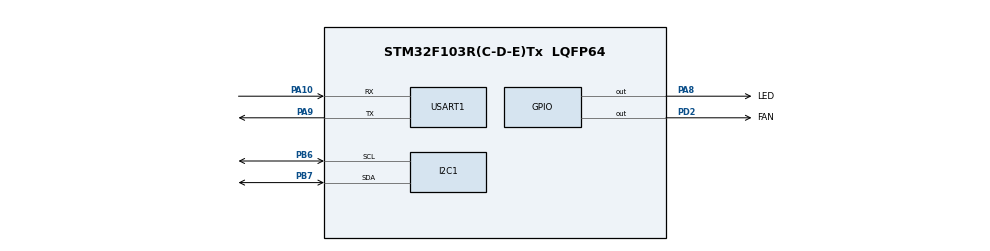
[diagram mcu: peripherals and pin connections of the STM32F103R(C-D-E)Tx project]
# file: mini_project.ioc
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Mcu.Family=STM32F1
Mcu.Name=STM32F103R(C-D-E)Tx
Mcu.Package=LQFP64
NVIC.PriorityGroup=NVIC_PRIORITYGROUP_4
NVIC.TIM1_BRK_IRQn=true\:0\:0\:false\:false\:true\:true\:true\:true
NVIC.TIM1_CC_IRQn=true\:0\:0\:false\:false\:true\:true\:true\:true
NVIC.TIM1_TRG_COM_IRQn=true\:0\:0\:false\:false\:true\:true\:true\:true
NVIC.TIM1_UP_IRQn=true\:0\:0\:false\:false\:true\:true\:true\:true
NVIC.USART1_IRQn=true\:0\:0\:false\:false\:true\:true\:true\:true
PA10.Mode=Asynchronous
PA10.Signal=USART1_RX
PA13.Mode=Serial_Wire
PA13.Signal=SYS_JTMS-SWDIO
PA14.Mode=Serial_Wire
PA14.Signal=SYS_JTCK-SWCLK
PA8.GPIO_Label=LED
PA8.Signal=GPIO_Output
PA9.Mode=Asynchronous
PA9.Signal=USART1_TX
PB6.Mode=I2C
PB6.Signal=I2C1_SCL
PB7.Mode=I2C
PB7.Signal=I2C1_SDA
PD2.GPIO_Label=FAN
PD2.Signal=GPIO_Output
ProjectManager.HeapSize=0x200
ProjectManager.StackSize=0x400
ProjectManager.TargetToolchain=STM32CubeIDE
RCC.APB1Freq_Value=8000000
RCC.APB2Freq_Value=8000000
TIM1.Period=9999
TIM1.Prescaler=7
USART1.VirtualMode=VM_ASYNC
VP_TIM1_VS_ClockSourceINT.Mode=Internal
board=custom

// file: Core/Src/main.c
/* USER CODE BEGIN Header */
/**
  ******************************************************************************
  * @file           : main.c
  * @brief          : Main program body
  ******************************************************************************
  * @attention
  *
  * Copyright (c) 2024 STMicroelectronics.
  * All rights reserved.
  *
  * This software is licensed under terms that can be found in the LICENSE file
  * in the root directory of this software component.
  * If no LICENSE file comes with this software, it is provided AS-IS.
  *
  ******************************************************************************
  */
/* USER CODE END Header */
#include "main.h"

/* USER CODE BEGIN Includes */
#include "string.h"
#include "DHT20.h"
#include "BH1750.h"
#include "scheduler.h"
#include "buffer.h"
/* USER CODE END Includes */

I2C_HandleTypeDef hi2c1;

TIM_HandleTypeDef htim1;

UART_HandleTypeDef huart1;

/* USER CODE BEGIN PV */
DHT20_I2C_DEVICE DHT20;
Buffer buffer_uart;
/* USER CODE END PV */

void SystemClock_Config(void);
static void MX_GPIO_Init(void);
static void MX_I2C1_Init(void);
static void MX_TIM1_Init(void);
static void MX_USART1_UART_Init(void);

/* USER CODE BEGIN 0 */

float temperature = 0;
float humidity = 0;
char command_buffer[255]={0};
uint8_t index_command_buffer  = 0;

char sending[255]={0};
uint8_t temp = 0;
uint8_t buffer_flag = 0;

#define NOT_IN_COMMAND 					0
#define STARTING_PARSE_COMMAND     	1
#define FINISHED_PARSE_COMMAND 		2

void parse_command(char* command, uint8_t size,uint8_t value){
	// continue to do
	char raise [255] = {0};
	HAL_UART_Transmit(&huart1, raise, sprintf(raise,"![PARSE]:OK# \n"), 1000);
	if (command == NULL) return;
	if (strcmp(command,"LED") == 0){
		HAL_GPIO_WritePin(LED_GPIO_Port, LED_Pin, value? RESET:SET);
	}
	if (strcmp(command,"FAN") == 0){
		HAL_GPIO_WritePin(FAN_GPIO_Port, FAN_Pin, value? RESET:SET);
	}
}

uint8_t state_command = NOT_IN_COMMAND;
void get_command(){
	char data = 0;
	if (read_buffer(&buffer_uart, &data, 1)){
//		HAL_UART_Transmit(&huart1, (uint8_t*)sending,sprintf(sending, "[RECIEVE]  data: %c \r\n",data),1000);
		buffer_flag = 0;
	}

	switch(state_command){
		case NOT_IN_COMMAND:
			if (data == '!'){
				command_buffer[index_command_buffer] = data;
				index_command_buffer++;
				state_command = STARTING_PARSE_COMMAND;
			}
			break;
		case STARTING_PARSE_COMMAND:
				command_buffer[index_command_buffer] = data;
				index_command_buffer++;
				if(data == '#'){
						state_command = FINISHED_PARSE_COMMAND;
				}
				break;
		case FINISHED_PARSE_COMMAND:
				char command[255] = {0};
				uint8_t value = 0;
				sscanf(command_buffer, "!%[^:]:%d#", command, &value);
				parse_command(command, strlen(command), value);
				index_command_buffer = 0;
				strcpy(command_buffer, "");
				state_command = NOT_IN_COMMAND;
				break;
	}
}

void HAL_UART_RxCpltCallback ( UART_HandleTypeDef * huart ) {
	if( huart -> Instance == USART1 ) {

		HAL_UART_Receive_IT (&huart1 , &temp , 1);
		write_buffer(&buffer_uart, &temp, 1);

	}
}
/* USER CODE END 0 */

int main(void)
{

  /* MCU Configuration--------------------------------------------------------*/

  /* Reset of all peripherals, Initializes the Flash interface and the Systick. */
  HAL_Init();

  /* Configure the system clock */
  SystemClock_Config();

  /* Initialize all configured peripherals */
  MX_GPIO_Init();
  MX_I2C1_Init();
  MX_TIM1_Init();
  MX_USART1_UART_Init();
  /* USER CODE BEGIN 2 */
//  uint8_t data = 0;
  HAL_TIM_Base_Start_IT(&htim1);

  HAL_UART_Receive_IT(&huart1, &temp, 1);
  DHT20_I2C_Init(&DHT20, &hi2c1, DHT20_ADDRESS);
  buffer_init(&buffer_uart);

#define TIMER_COMMAND 			0
#define TIMER_DHT20 				 	1
  /* USER CODE END 2 */

  /* Infinite loop */
  /* USER CODE BEGIN WHILE */
//  char starting_word[] = "HELLO NHANLOW \r\n";
//  HAL_UART_Transmit(&huart1, (uint8_t*) starting_word, sizeof(starting_word), 1000);
  HAL_GPIO_WritePin(LED_GPIO_Port, LED_Pin, SET);
  HAL_UART_Transmit(&huart1,sending , sprintf(sending,"!FAN:0#"), 1000);
  HAL_GPIO_WritePin(FAN_GPIO_Port, FAN_Pin, SET);
  HAL_UART_Transmit(&huart1,sending , sprintf(sending,"!LED:0#"), 1000);
  set_timer(TIMER_COMMAND,10);
  set_timer(TIMER_DHT20,10000);
  while (1)
  {
	 if(is_timer_timeout(TIMER_COMMAND)){
		 get_command();
		 set_timer(TIMER_COMMAND,10);
	 }
	 if (is_timer_timeout(TIMER_DHT20)){
		 DHT20_I2C_Read(&DHT20, &temperature, &humidity);
		 HAL_UART_Transmit(&huart1,sending , sprintf(sending,"!TEMP:%.1f#!HUMI:%.1f#", temperature, humidity), 1000);
		 set_timer(TIMER_DHT20,10000);
	 }
    /* USER CODE END WHILE */

  }
}

void SystemClock_Config(void)
{
  RCC_OscInitTypeDef RCC_OscInitStruct = {0};
  RCC_ClkInitTypeDef RCC_ClkInitStruct = {0};

  /** Initializes the RCC Oscillators according to the specified parameters
  * in the RCC_OscInitTypeDef structure.
  */
  RCC_OscInitStruct.OscillatorType = RCC_OSCILLATORTYPE_HSI;
  RCC_OscInitStruct.HSIState = RCC_HSI_ON;
  RCC_OscInitStruct.HSICalibrationValue = RCC_HSICALIBRATION_DEFAULT;
  RCC_OscInitStruct.PLL.PLLState = RCC_PLL_NONE;
  if (HAL_RCC_OscConfig(&RCC_OscInitStruct) != HAL_OK)
  {
    Error_Handler();
  }

  /** Initializes the CPU, AHB and APB buses clocks
  */
  RCC_ClkInitStruct.ClockType = RCC_CLOCKTYPE_HCLK|RCC_CLOCKTYPE_SYSCLK
                              |RCC_CLOCKTYPE_PCLK1|RCC_CLOCKTYPE_PCLK2;
  RCC_ClkInitStruct.SYSCLKSource = RCC_SYSCLKSOURCE_HSI;
  RCC_ClkInitStruct.AHBCLKDivider = RCC_SYSCLK_DIV1;
  RCC_ClkInitStruct.APB1CLKDivider = RCC_HCLK_DIV1;
  RCC_ClkInitStruct.APB2CLKDivider = RCC_HCLK_DIV1;

  if (HAL_RCC_ClockConfig(&RCC_ClkInitStruct, FLASH_LATENCY_0) != HAL_OK)
  {
    Error_Handler();
  }
}

static void MX_I2C1_Init(void)
{

  hi2c1.Instance = I2C1;
  hi2c1.Init.ClockSpeed = 100000;
  hi2c1.Init.DutyCycle = I2C_DUTYCYCLE_2;
  hi2c1.Init.OwnAddress1 = 0;
  hi2c1.Init.AddressingMode = I2C_ADDRESSINGMODE_7BIT;
  hi2c1.Init.DualAddressMode = I2C_DUALADDRESS_DISABLE;
  hi2c1.Init.OwnAddress2 = 0;
  hi2c1.Init.GeneralCallMode = I2C_GENERALCALL_DISABLE;
  hi2c1.Init.NoStretchMode = I2C_NOSTRETCH_DISABLE;
  if (HAL_I2C_Init(&hi2c1) != HAL_OK)
  {
    Error_Handler();
  }

}

static void MX_TIM1_Init(void)
{

  TIM_ClockConfigTypeDef sClockSourceConfig = {0};
  TIM_MasterConfigTypeDef sMasterConfig = {0};

  htim1.Instance = TIM1;
  htim1.Init.Prescaler = 7;
  htim1.Init.CounterMode = TIM_COUNTERMODE_UP;
  htim1.Init.Period = 9999;
  htim1.Init.ClockDivision = TIM_CLOCKDIVISION_DIV1;
  htim1.Init.RepetitionCounter = 0;
  htim1.Init.AutoReloadPreload = TIM_AUTORELOAD_PRELOAD_DISABLE;
  if (HAL_TIM_Base_Init(&htim1) != HAL_OK)
  {
    Error_Handler();
  }
  sClockSourceConfig.ClockSource = TIM_CLOCKSOURCE_INTERNAL;
  if (HAL_TIM_ConfigClockSource(&htim1, &sClockSourceConfig) != HAL_OK)
  {
    Error_Handler();
  }
  sMasterConfig.MasterOutputTrigger = TIM_TRGO_RESET;
  sMasterConfig.MasterSlaveMode = TIM_MASTERSLAVEMODE_DISABLE;
  if (HAL_TIMEx_MasterConfigSynchronization(&htim1, &sMasterConfig) != HAL_OK)
  {
    Error_Handler();
  }

}

static void MX_USART1_UART_Init(void)
{

  huart1.Instance = USART1;
  huart1.Init.BaudRate = 115200;
  huart1.Init.WordLength = UART_WORDLENGTH_8B;
  huart1.Init.StopBits = UART_STOPBITS_1;
  huart1.Init.Parity = UART_PARITY_NONE;
  huart1.Init.Mode = UART_MODE_TX_RX;
  huart1.Init.HwFlowCtl = UART_HWCONTROL_NONE;
  huart1.Init.OverSampling = UART_OVERSAMPLING_16;
  if (HAL_UART_Init(&huart1) != HAL_OK)
  {
    Error_Handler();
  }

}

static void MX_GPIO_Init(void)
{
  GPIO_InitTypeDef GPIO_InitStruct = {0};

  /* GPIO Ports Clock Enable */
  __HAL_RCC_GPIOA_CLK_ENABLE();
  __HAL_RCC_GPIOD_CLK_ENABLE();
  __HAL_RCC_GPIOB_CLK_ENABLE();

  /*Configure GPIO pin Output Level */
  HAL_GPIO_WritePin(LED_GPIO_Port, LED_Pin, GPIO_PIN_RESET);

  /*Configure GPIO pin Output Level */
  HAL_GPIO_WritePin(FAN_GPIO_Port, FAN_Pin, GPIO_PIN_RESET);

  /*Configure GPIO pin : LED_Pin */
  GPIO_InitStruct.Pin = LED_Pin;
  GPIO_InitStruct.Mode = GPIO_MODE_OUTPUT_PP;
  GPIO_InitStruct.Pull = GPIO_NOPULL;
  GPIO_InitStruct.Speed = GPIO_SPEED_FREQ_LOW;
  HAL_GPIO_Init(LED_GPIO_Port, &GPIO_InitStruct);

  /*Configure GPIO pin : FAN_Pin */
  GPIO_InitStruct.Pin = FAN_Pin;
  GPIO_InitStruct.Mode = GPIO_MODE_OUTPUT_PP;
  GPIO_InitStruct.Pull = GPIO_NOPULL;
  GPIO_InitStruct.Speed = GPIO_SPEED_FREQ_LOW;
  HAL_GPIO_Init(FAN_GPIO_Port, &GPIO_InitStruct);

}

/* USER CODE BEGIN 4 */
void HAL_TIM_PeriodElapsedCallback(TIM_HandleTypeDef *htim){
//	Scheduler_Update(&scheduler);
	timer_run();

}
/* USER CODE END 4 */

void Error_Handler(void)
{
  __disable_irq();
  while (1)
  {
  }
}
